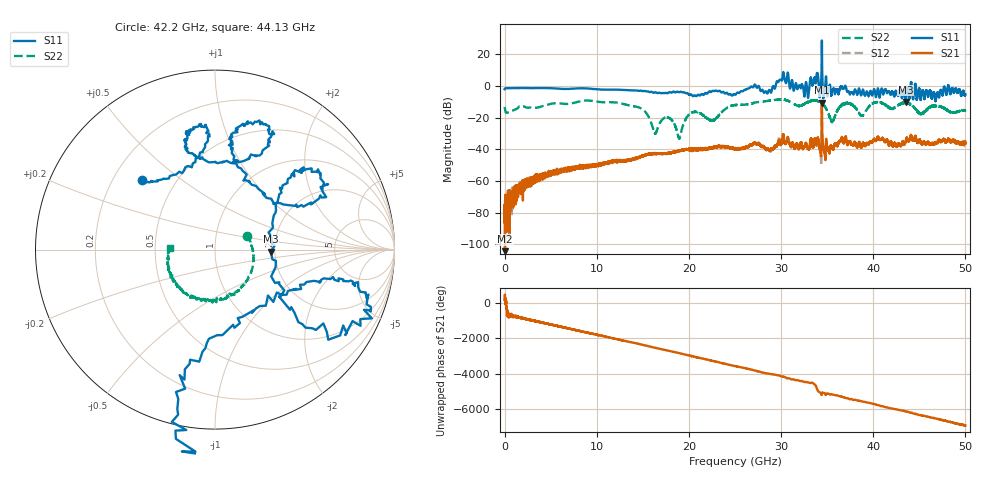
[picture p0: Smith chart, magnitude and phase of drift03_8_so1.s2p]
!Created with skrf (http://scikit-rf.org).
# Hz S RI R 50.0
!freq ReS11 ImS11 ReS21 ImS21 ReS12 ImS12 ReS22 ImS22
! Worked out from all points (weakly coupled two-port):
!   10000 points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, 5.3 MHz to 50 GHz, reference 50 ohm
!   highest |S21| = -10.68 dB at 34.43 GHz (marker M1); lowest = -104.6 dB at 50.3 MHz (marker M2)
!   lowest |S11| = -10.2 dB at 43.53 GHz (marker M3), VSWR 1.90, Z = 95 - j2.49 ohm
!   |S11| at or under -10 dB: 43.50956 GHz to 43.51185 GHz (2.289 MHz wide, 0.00526 % of centre); 43.52876 GHz to 43.53537 GHz (6.609 MHz wide, 0.0152 % of centre)
!   |S22| runs from -33.4 to -8.5 dB; largest |S21 - S12| = 0.08
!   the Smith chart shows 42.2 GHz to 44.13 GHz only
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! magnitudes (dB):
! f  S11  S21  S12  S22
! 5.3 MHz  -2.1  -80.8  -76.6  -13.3
! 50.3 MHz  -1.6  -104.6  -74.3  -14.9
! 2.37 GHz  -1.4  -60.3  -62.6  -13.7
! 8.34 GHz  -1.5  -51.0  -51.4  -9.5
! 14.5 GHz  -3.0  -45.1  -45.4  -13.4
! 16.67 GHz  -4.4  -42.9  -42.8  -25.8
! 17.81 GHz  -4.2  -42.4  -42.4  -20.1
! 18.96 GHz  -4.0  -41.2  -41.2  -33.3
! 20.27 GHz  -5.5  -40.3  -40.0  -17.1
! 22.58 GHz  -3.1  -39.3  -39.2  -22.0
! 25.01 GHz  -5.5  -39.4  -39.6  -12.1
! 28.72 GHz  -2.5  -40.3  -40.4  -9.3
! 30.14 GHz  4.3  -34.2  -34.0  -8.6
! 32.74 GHz  2.1  -37.0  -36.3  -10.7
! 33.34 GHz  2.5  -34.7  -34.9  -9.4
! 34.43 GHz  28.7  -10.7  -12.3  -11.0
! 35.54 GHz  -3.2  -39.2  -39.0  -23.0
! 36.99 GHz  0.0  -32.8  -32.4  -11.3
! 38.75 GHz  -5.3  -38.8  -38.5  -18.9
! 41.67 GHz  -3.4  -37.0  -36.8  -13.5
! 43.53 GHz  -10.2  -34.7  -34.8  -10.6
! 50 GHz  -5.3  -36.4  -36.4  -15.3
